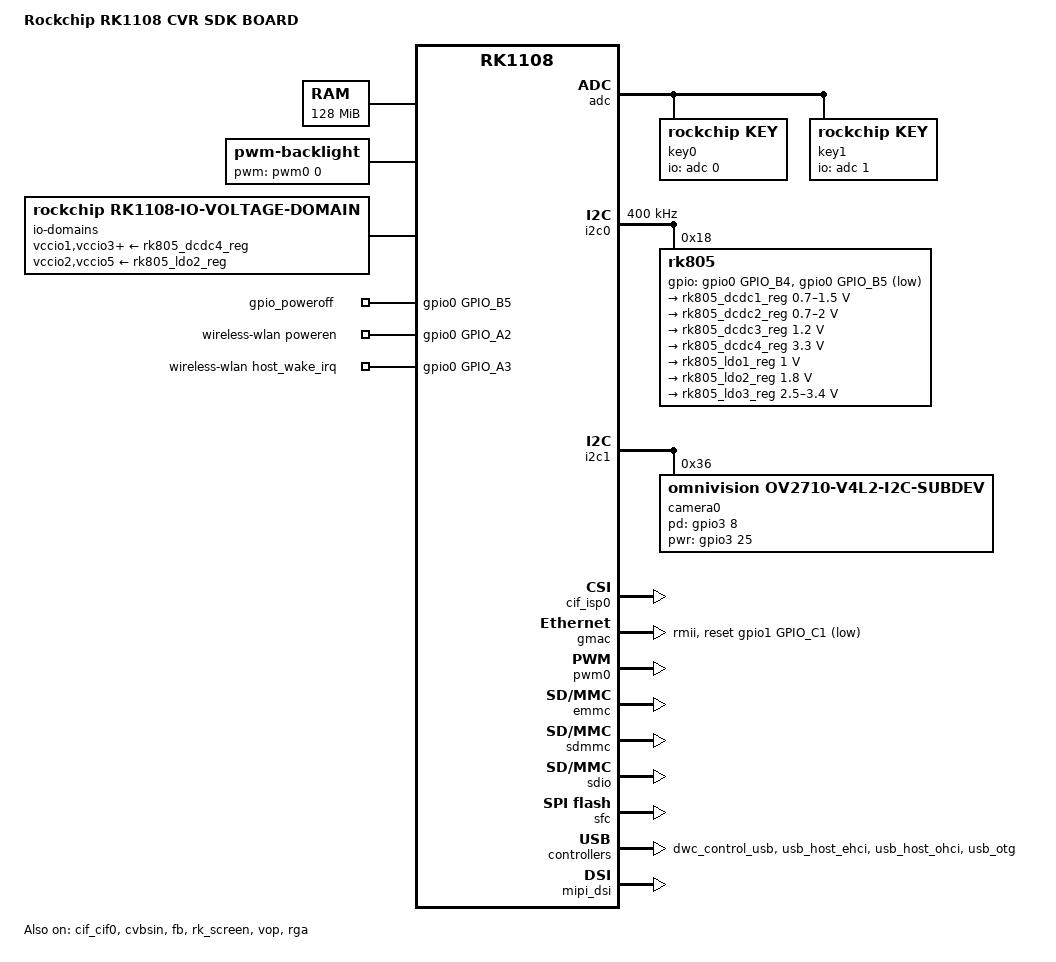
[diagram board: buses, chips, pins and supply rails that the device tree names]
/*
 * Copyright (c) 2016 Fuzhou Rockchip Electronics Co., Ltd
 *
 * This file is dual-licensed: you can use it either under the terms
 * of the GPL or the X11 license, at your option. Note that this dual
 * licensing only applies to this file, and not this project as a
 * whole.
 *
 *  a) This file is free software; you can redistribute it and/or
 *     modify it under the terms of the GNU General Public License as
 *     published by the Free Software Foundation; either version 2 of the
 *     License, or (at your option) any later version.
 *
 *     This file is distributed in the hope that it will be useful,
 *     but WITHOUT ANY WARRANTY; without even the implied warranty of
 *     MERCHANTABILITY or FITNESS FOR A PARTICULAR PURPOSE.  See the
 *     GNU General Public License for more details.
 *
 * Or, alternatively,
 *
 *  b) Permission is hereby granted, free of charge, to any person
 *     obtaining a copy of this software and associated documentation
 *     files (the "Software"), to deal in the Software without
 *     restriction, including without limitation the rights to use,
 *     copy, modify, merge, publish, distribute, sublicense, and/or
 *     sell copies of the Software, and to permit persons to whom the
 *     Software is furnished to do so, subject to the following
 *     conditions:
 *
 *     The above copyright notice and this permission notice shall be
 *     included in all copies or substantial portions of the Software.
 *
 *     THE SOFTWARE IS PROVIDED "AS IS", WITHOUT WARRANTY OF ANY KIND,
 *     EXPRESS OR IMPLIED, INCLUDING BUT NOT LIMITED TO THE WARRANTIES
 *     OF MERCHANTABILITY, FITNESS FOR A PARTICULAR PURPOSE AND
 *     NONINFRINGEMENT. IN NO EVENT SHALL THE AUTHORS OR COPYRIGHT
 *     HOLDERS BE LIABLE FOR ANY CLAIM, DAMAGES OR OTHER LIABILITY,
 *     WHETHER IN AN ACTION OF CONTRACT, TORT OR OTHERWISE, ARISING
 *     FROM, OUT OF OR IN CONNECTION WITH THE SOFTWARE OR THE USE OR
 *     OTHER DEALINGS IN THE SOFTWARE.
 */

/dts-v1/;

#include "rk1108.dtsi"
#include "lcd-ili9806e_mipi.dtsi"

/ {
	model = "Rockchip RK1108 CVR SDK BOARD";
	compatible = "rockchip,rk1108-cvr", "rockchip,rk1108";

	memory {
		device_type = "memory";
		reg = <0x60000000 0x08000000>;
	};

	fiq-debugger {
		status = "okay";
	};

	chosen {
		bootargs = "rockchip_jtag clk_ignore_unused noinitrd root=/dev/rootfs rootfstype=squashfs";
	};

	ion {
		compatible = "rockchip,ion";
		#address-cells = <1>;
		#size-cells = <0>;

		ion_cma: rockchip,ion-heap@4 { /* CMA HEAP */
			compatible = "rockchip,ion-heap";
			rockchip,ion_heap = <4>;
			reg = <0x00000000 0x04000000>; /* 64MB */
		};
		rockchip,ion-heap@0 { /* VMALLOC HEAP */
			compatible = "rockchip,ion-heap";
			rockchip,ion_heap = <0>;
		};
	};

	backlight {
		compatible = "pwm-backlight";
		pwms = <&pwm0 0 25000>;
		brightness-levels = <
			  0   1   2   3   4   5   6   7
			  8   9  10  11  12  13  14  15
			 16  17  18  19  20  21  22  23
			 24  25  26  27  28  29  30  31
			 32  33  34  35  36  37  38  39
			 40  41  42  43  44  45  46  47
			 48  49  50  51  52  53  54  55
			 56  57  58  59  60  61  62  63
			 64  65  66  67  68  69  70  71
			 72  73  74  75  76  77  78  79
			 80  81  82  83  84  85  86  87
			 88  89  90  91  92  93  94  95
			 96  97  98  99 100 101 102 103
			104 105 106 107 108 109 110 111
			112 113 114 115 116 117 118 119
			120 121 122 123 124 125 126 127
			128 129 130 131 132 133 134 135
			136 137 138 139 140 141 142 143
			144 145 146 147 148 149 150 151
			152 153 154 155 156 157 158 159
			160 161 162 163 164 165 166 167
			168 169 170 171 172 173 174 175
			176 177 178 179 180 181 182 183
			184 185 186 187 188 189 190 191
			192 193 194 195 196 197 198 199
			200 201 202 203 204 205 206 207
			208 209 210 211 212 213 214 215
			216 217 218 219 220 221 222 223
			224 225 226 227 228 229 230 231
			232 233 234 235 236 237 238 239
			240 241 242 243 244 245 246 247
			248 249 250 251 252 253 254 255>;
		default-brightness-level = <200>;
	};

	io-domains {
		compatible = "rockchip,rk1108-io-voltage-domain";
		rockchip,grf = <&grf>;
		rockchip,pmugrf = <&pmugrf>;

		/* GRF_IO_VSEL */
		status = "okay";
		vccio1-supply = <&rk805_dcdc4_reg>;
		vccio2-supply = <&rk805_ldo2_reg>;
		vccio3-supply = <&rk805_dcdc4_reg>;
		vccio5-supply = <&rk805_ldo2_reg>;
		vccio6-supply = <&rk805_dcdc4_reg>;

		/* PMU_GRF_IO_VSEL */
		pmu-supply = <&rk805_dcdc4_reg>;
	};

	/* pmic_sleep */
	gpio_poweroff {
		compatible = "gpio-poweroff";
		gpios = <&gpio0 GPIO_B5 GPIO_ACTIVE_HIGH>;
		status = "okay";
	};

	wireless-wlan {
		compatible = "wlan-platdata";
		wifi_chip_type = "rtl8723bs_vq0";
		WIFI,poweren_gpio = <&gpio0 GPIO_A2 GPIO_ACTIVE_HIGH>;
		WIFI,host_wake_irq = <&gpio0 GPIO_A3 GPIO_ACTIVE_HIGH>;
		status = "okay";
	};
};

&adc {
	status = "okay";

	key0 {
		compatible = "rockchip,key";
		io-channels = <&adc 0>;

		vol-up-key {
			linux,code = <115>;
			label = "volume up";
			rockchip,adc_value = <0>;
		};

		vol-down-key {
			linux,code = <114>;
			label = "volume down";
			rockchip,adc_value = <169>;
		};

		up-key {
			linux,code = <103>;
			label = "up";
			rockchip,adc_value = <352>;
		};

		down-key {
			linux,code = <108>;
			label = "down";
			rockchip,adc_value = <559>;
		};
	};

	key1 {
		compatible = "rockchip,key";
		io-channels = <&adc 1>;

		left-key {
			linux,code = <105>;
			label = "left";
			rockchip,adc_value = <353>;
		};

		right-key {
			linux,code = <106>;
			label = "right";
			rockchip,adc_value = <559>;
		};

		update-key {
			linux,code = <63>;
			label = "update";
			rockchip,adc_value = <169>;
		};

		return-key {
			linux,code = <1>;
			label = "return";
			rockchip,adc_value = <0>;
		};
	};
};

&i2c0 {
	status = "okay";

	i2c-scl-rising-time-ns = <275>;
	i2c-scl-falling-time-ns = <16>;
	clock-frequency = <400000>;

	rk805: rk805@18 {
		reg = <0x18>;
		status = "okay";
	};
};

&i2c1 {
	status = "okay";
	camera0: camera-module@36 {
		status = "okay";
		compatible = "omnivision,ov2710-v4l2-i2c-subdev";
		reg = <0x36>;
		device_type = "v4l2-i2c-subdev";
		clocks = <&clk_mipicsi_out>;
		clock-names = "cif_clk_out";
		pinctrl-names = "default", "sleep";
		pinctrl-0 = <&cam0_default_pins>;
		pinctrl-1 = <&cam0_sleep_pins>;
		rockchip,pd-gpio = <&gpio3 8 GPIO_ACTIVE_HIGH>;
		rockchip,pd-gpio-is_active_high;
		rockchip,pwr-gpio = <&gpio3 25 GPIO_ACTIVE_HIGH>;
		rockchip,pwr-gpio-is_active_high;
		rockchip,camera-module-regulator-names = "vdd_cam", "avdd_cam";
		rockchip,camera-module-regulator-voltages = <1450000 3300000>;
		rockchip,camera-module-facing = "back";
		rockchip,camera-module-name = "cmk-cb0695-fv1";
		rockchip,camera-module-len-name = "lg9569a2";
		rockchip,camera-module-fov-h = "66.0";
		rockchip,camera-module-fov-v = "50.1";
		rockchip,camera-module-orientation = <0>;
		rockchip,camera-module-iq-flip = <0>;
		rockchip,camera-module-iq-mirror = <0>;
		rockchip,camera-module-flip = <0>;
		rockchip,camera-module-mirror = <0>;
		/* resolution.w, resolution.h, defrect.left, defrect.top, defrect.w, defrect.h */
		rockchip,camera-module-defrect0 = <1920 1080 0 0 1920 1080>;
		rockchip,camera-module-flash-support = <0>;
		rockchip,camera-module-mipi-dphy-index = <0>;
	};
};

&cif_cif0 {
	rockchip,camera-modules-attached = <&cvbsin>;
	status = "okay";
};

&cif_isp0 {
	rockchip,camera-modules-attached = <&camera0>;
	status = "okay";
};

&cvbsin {
	status = "okay";
};

&gmac_clkin {
	clock-frequency = <50000000>;
};

&gmac {
	status = "okay";

	/* pmu_regulator = "act_ldo5"; */
	/* power-gpio = <&gpio0 GPIO_A6 GPIO_ACTIVE_HIGH>; */
	reset-gpio = <&gpio1 GPIO_C1 GPIO_ACTIVE_LOW>;

	phy-mode = "rmii";
	clock_in_out = "output";
};

&pwm0 {
	status = "okay";
};

&emmc {
	clock-frequency = <50000000>;
	clock-freq-min-max = <400000 50000000>;
	supports-highspeed;
	supports-emmc;
	bootpart-no-access;
	supports-DDR_MODE;
	caps2-mmc-hs200;
	ignore-pm-notify;
	keep-power-in-suspend;
	status = "okay";
};

&sdmmc {
	clock-frequency = <50000000>;
	clock-freq-min-max = <200000 50000000>;
	supports-highspeed;
	supports-sd;
	broken-cd;
	card-detect-delay = <200>;
	ignore-pm-notify;
	keep-power-in-suspend;
	power-inverted;
	status = "okay";
};

&sdio {
	clock-frequency = <50000000>;
	clock-freq-min-max = <200000 50000000>;
	supports-highspeed;
	supports-sdio;
	ignore-pm-notify;
	keep-power-in-suspend;
	cap-sdio-irq;
	status = "okay";
};

&sfc {
	status = "okay";
};

#include "rk805.dtsi"
&rk805 {
	gpios = <&gpio0 GPIO_B4 GPIO_ACTIVE_HIGH>, <&gpio0 GPIO_B5 GPIO_ACTIVE_LOW>;
	rk805,system-power-controller;
	rk805,support_dc_chg = <1>; /* 1: dc chg; 0: usb chg */

	regulators {
		rk805_dcdc1_reg: regulator@0 {
			regulator-name= "vdd_core";
			regulator-min-microvolt = <700000>;
			regulator-max-microvolt = <1500000>;
			regulator-initial-mode = <0x2>;
			regulator-initial-state = <3>;
			regulator-boot-on;
			regulator-always-on;
			regulator-state-mem {
				regulator-state-mode = <0x2>;
				regulator-state-enabled;
				regulator-state-uv = <900000>;
			};
		};

		rk805_dcdc2_reg: regulator@1 {
			regulator-name= "vdd_cam";
			regulator-min-microvolt = <700000>;
			regulator-max-microvolt = <2000000>;
			regulator-initial-mode = <0x2>;
			regulator-initial-state = <3>;
			regulator-state-mem {
				regulator-state-disabled;
			};
		};

		rk805_dcdc3_reg: regulator@2 {
			regulator-name= "vcc_ddr";
			regulator-min-microvolt = <1200000>;
			regulator-max-microvolt = <1200000>;
			regulator-initial-mode = <0x2>;
			regulator-initial-state = <3>;
			regulator-boot-on;
			regulator-always-on;
			regulator-state-mem {
				regulator-state-mode = <0x2>;
				regulator-state-enabled;
				regulator-state-uv = <1200000>;
			};
		};

		rk805_dcdc4_reg: regulator@3 {
			regulator-name= "vcc_io";
			regulator-min-microvolt = <3300000>;
			regulator-max-microvolt = <3300000>;
			regulator-initial-mode = <0x2>;
			regulator-initial-state = <3>;
			regulator-boot-on;
			regulator-always-on;
			regulator-state-mem {
				regulator-state-mode = <0x2>;
				regulator-state-enabled;
				regulator-state-uv = <3300000>;
			};
		};

		rk805_ldo1_reg: regulator@4 {
			regulator-name= "vdd_10";
			regulator-min-microvolt = <1000000>;
			regulator-max-microvolt = <1000000>;
			regulator-initial-state = <3>;
			regulator-boot-on;
			regulator-always-on;
			regulator-state-mem {
				regulator-state-enabled;
				regulator-state-uv = <1000000>;
			};
		};

		rk805_ldo2_reg: regulator@5 {
			regulator-name= "vcc_18";
			regulator-min-microvolt = <1800000>;
			regulator-max-microvolt = <1800000>;
			regulator-initial-state = <3>;
			regulator-boot-on;
			regulator-always-on;
			regulator-state-mem {
				regulator-state-enabled;
				regulator-state-uv = <1800000>;
			};
		};

		rk805_ldo3_reg: regulator@6 {
			regulator-name= "avdd_cam";
			regulator-min-microvolt = <2500000>;
			regulator-max-microvolt = <3400000>;
			regulator-initial-state = <3>;
			regulator-state-mem {
				regulator-state-disabled;
			};
		};
	};
};

&dwc_control_usb {
	rockchip,usb_irq_wakeup;
	status = "okay";
};

&usb_host_ehci {
	status = "okay";
};

&usb_host_ohci {
	status = "okay";
};

&usb_otg {
	status = "okay";
};

&fb {
	status = "okay";
};

&rk_screen {
	status = "okay";
};

&mipi_dsi {
	status = "okay";
};

&vop {
	status = "okay";
	power_ctr: power_ctr {
		rockchip,debug = <0>;
		/*
		lcd_en: lcd_en {
			rockchip,power_type = <GPIO>;
			gpios = <&gpio3 GPIO_C4 GPIO_ACTIVE_HIGH>;
			rockchip,delay = <10>;
		};
		*/
	};
};

&rga {
	status = "okay";
};
